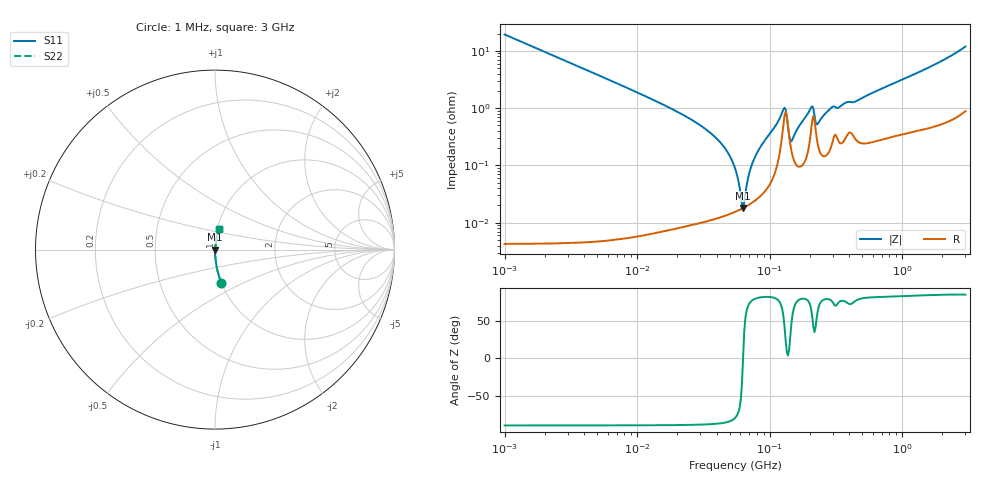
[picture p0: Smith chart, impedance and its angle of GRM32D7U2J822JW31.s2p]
!Murata Part Number: GRM32D7U2J822JW31
!These Parameters are Measured in Series Mode Connection
!Data Generated on Mar 30, 2021
!  o--ll--o
!Port1  Port2
!  o------o
!Operation Temp=25[degC], DC Bias Voltage=0[V]
!Freq. Start=1000[kHz] Stop=3[GHz] 401[Steps]
# Hz S RI R 50
!Freq.(Hz) S11(Real) S11(Imag) S21(Real) S21(Imag) S12(Real) S12(Imag) S22(Real) S22(Imag)
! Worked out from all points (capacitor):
!   401 points, 1 MHz to 3 GHz, reference 50 ohm
!   read as one part in series: C = 8.25 nF near 1.041 MHz
!   lowest |Z| = 18 mohm at 63.01 MHz (marker M1)
!   series resonance near 62.97 MHz, so ESL is about 770 pH
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1000000  0.0359 -0.1859  0.9641 0.1859  0.9641 0.1859  0.0359 -0.1859
3823119  0.00256 -0.0501  0.9974 0.0501  0.9974 0.0501  0.00256 -0.0501
1.461624e7  0.000224 -0.0125  0.9998 0.0125  0.9998 0.0125  0.000224 -0.0125
3.670325e7  0.000124 -0.0035  0.9999 0.0035  0.9999 0.0035  0.000124 -0.0035
4.666789e7  0.000137 -0.0019  0.9999 0.0019  0.9999 0.0019  0.000137 -0.0019
5.477226e7  0.000155 -0.000882  0.9998 0.000882  0.9998 0.000882  0.000155 -0.000882
6.053752e7  0.000172 -0.00025  0.9998 0.00025  0.9998 0.00025  0.000172 -0.00025
6.301011e7  0.00018 4.6e-06  0.9998 -4.6e-06  0.9998 -4.6e-06  0.00018 4.6e-06
6.558369e7  0.000189 0.000262  0.9998 -0.000262  0.9998 -0.000262  0.000189 0.000262
7.105049e7  0.000212 0.000787  0.9998 -0.000787  0.9998 -0.000787  0.000212 0.000787
7.697298e7  0.000242 0.00133  0.9998 -0.00133  0.9998 -0.00133  0.000242 0.00133
1.269575e8  0.00517 0.00785  0.9948 -0.00785  0.9948 -0.00785  0.00517 0.00785
1.321429e8  0.00858 0.00373  0.9914 -0.00373  0.9914 -0.00373  0.00858 0.00373
1.403209e8  0.00324 0.000701  0.9968 -0.000701  0.9968 -0.000701  0.00324 0.000701
1.460522e8  0.0018 0.00193  0.9982 -0.00193  0.9982 -0.00193  0.0018 0.00193
2.011837e8  0.00282 0.00887  0.9972 -0.00887  0.9972 -0.00887  0.00282 0.00887
2.094008e8  0.00595 0.00889  0.994 -0.00889  0.994 -0.00889  0.00595 0.00889
2.314421e8  0.00227 0.00487  0.9977 -0.00487  0.9977 -0.00487  0.00227 0.00487
2.942768e8  0.00239 0.00999  0.9976 -0.00999  0.9976 -0.00999  0.00239 0.00999
4.391493e8  0.00313 0.0125  0.9969 -0.0125  0.9969 -0.0125  0.00313 0.0125
8.005644e8  0.00366 0.0247  0.9963 -0.0247  0.9963 -0.0247  0.00366 0.0247
3e9  0.0222 0.1147  0.9778 -0.1147  0.9778 -0.1147  0.0222 0.1147
